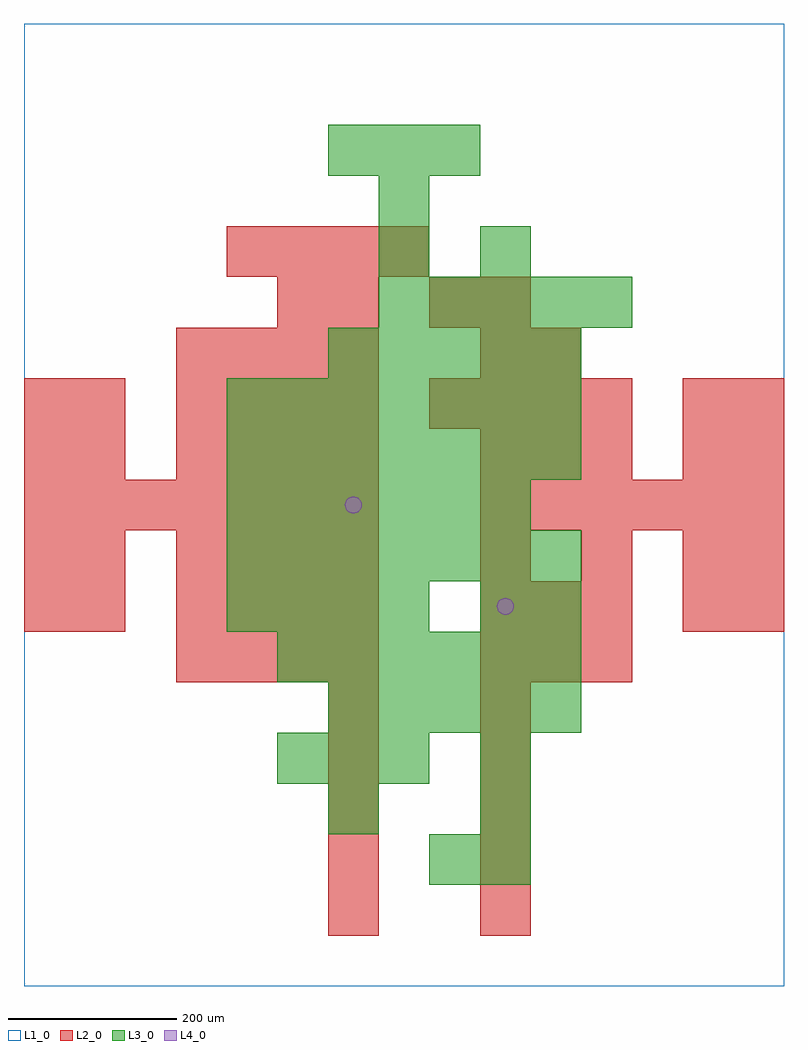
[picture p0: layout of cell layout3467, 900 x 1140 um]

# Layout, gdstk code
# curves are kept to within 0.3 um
import gdstk
lib = gdstk.Library(unit=1e-6, precision=1e-09)
def R(c, l, rs):  # rectangles x0, y0, x1, y1
    for r in rs: c.add(gdstk.rectangle(r[:2], r[2:], *l))
def A(c, l, x, y, w, h, nx, ny, dx, dy):  # array of equal rectangles
    R(c, l, [(x+i*dx, y+j*dy, x+i*dx+w, y+j*dy+h) for i in range(nx) for j in range(ny)])
def P(c, l, *ps):  # polygons
    for p in ps: c.add(gdstk.Polygon(p, *l))
L1_0 = (1, 0)
L2_0 = (2, 0)
L3_0 = (3, 0)
L4_0 = (4, 0)

layout3467 = lib.new_cell('layout3467')
R(layout3467, L1_0, [(0,0,900,1140)])
A(layout3467, L2_0, 360, 60, 60, 60, 1, 5, 0, 60)
A(layout3467, L2_0, 540, 60, 60, 60, 1, 5, 0, 60)
A(layout3467, L2_0, 180, 360, 60, 60, 4, 3, 60, 60)
A(layout3467, L2_0, 540, 360, 60, 60, 3, 2, 60, 60)
A(layout3467, L2_0, 540, 480, 60, 60, 3, 1, 120, 0)
A(layout3467, L2_0, 0, 540, 60, 60, 7, 1, 60, 0)
A(layout3467, L2_0, 540, 540, 60, 60, 6, 1, 60, 0)
A(layout3467, L2_0, 180, 600, 60, 60, 4, 3, 60, 60)
A(layout3467, L2_0, 540, 600, 60, 60, 3, 1, 60, 0)
A(layout3467, L2_0, 480, 660, 60, 60, 4, 1, 60, 0)
A(layout3467, L2_0, 240, 840, 60, 60, 4, 1, 60, 0)
R(layout3467, L2_0, [(0,420,60,480), (60,420,120,480), (780,420,840,480), (840,420,900,480), (0,480,60,540), (60,480,120,540), (840,480,900,540), (0,600,60,660), (60,600,120,660), (780,600,840,660), (840,600,900,660), (0,660,60,720), (60,660,120,720), (780,660,840,720), (840,660,900,720), (540,720,600,780), (600,720,660,780), (300,780,360,840), (360,780,420,840), (480,780,540,840), (540,780,600,840)])
A(layout3467, L3_0, 540, 120, 60, 60, 1, 3, 0, 60)
A(layout3467, L3_0, 300, 240, 60, 60, 3, 1, 60, 0)
A(layout3467, L3_0, 360, 300, 60, 60, 5, 2, 60, 420)
A(layout3467, L3_0, 300, 360, 60, 60, 6, 1, 60, 0)
A(layout3467, L3_0, 240, 420, 60, 60, 4, 1, 60, 0)
A(layout3467, L3_0, 240, 480, 60, 60, 7, 2, 60, 120)
A(layout3467, L3_0, 240, 540, 60, 60, 6, 1, 60, 0)
A(layout3467, L3_0, 240, 660, 60, 60, 7, 1, 60, 0)
A(layout3467, L3_0, 420, 780, 60, 60, 5, 1, 60, 0)
A(layout3467, L3_0, 360, 960, 60, 60, 3, 1, 60, 0)
R(layout3467, L3_0, [(480,120,540,180), (360,180,420,240), (540,420,600,480), (600,420,660,480), (420,840,480,900), (540,840,600,900), (420,900,480,960)])
P(layout3467, L4_0, [(400,570),(399.239,573.827),(397.071,577.071),(393.827,579.239),(390,580),(386.173,579.239),(382.929,577.071),(380.761,573.827),(380,570),(380.761,566.173),(382.929,562.929),(386.173,560.761),(390,560),(393.827,560.761),(397.071,562.929),(399.239,566.173)],
  [(580,450),(579.239,453.827),(577.071,457.071),(573.827,459.239),(570,460),(566.173,459.239),(562.929,457.071),(560.761,453.827),(560,450),(560.761,446.173),(562.929,442.929),(566.173,440.761),(570,440),(573.827,440.761),(577.071,442.929),(579.239,446.173)])

lib.write_gds('layout3467.gds')
